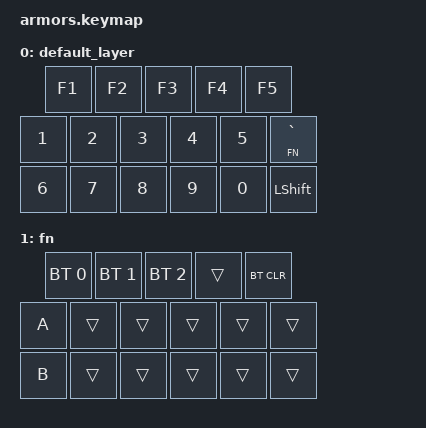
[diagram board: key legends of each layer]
/*
 * Copyright (c) 2022 The ZMK Contributors
 *
 * SPDX-License-Identifier: MIT
 */

#include <behaviors.dtsi>
#include <dt-bindings/zmk/keys.h>
#include <dt-bindings/zmk/bt.h>
#include <dt-bindings/zmk/outputs.h>

#define DEFAULT 0
#define FN 1

#define FN_GRV &lt FN GRAVE



/ {
    keymap {
        compatible = "zmk,keymap";

        default_layer {
            bindings = <
                    &kp F1  &kp F2  &kp F3  &kp F4  &kp F5
                &kp N1  &kp N2  &kp N3  &kp N4  &kp N5  FN_GRV
                &kp N6  &kp N7  &kp N8  &kp N9  &kp N0  &kp LSHFT
            >;
        };

        fn {
            bindings = <
                      &bt BT_SEL 0    &bt BT_SEL 1  &bt BT_SEL 2 &trans &bt BT_CLR
                &kp A &trans &trans &trans &trans &trans 
                &kp B &trans &trans &trans &trans &trans 
            >;
        };
    };
};
